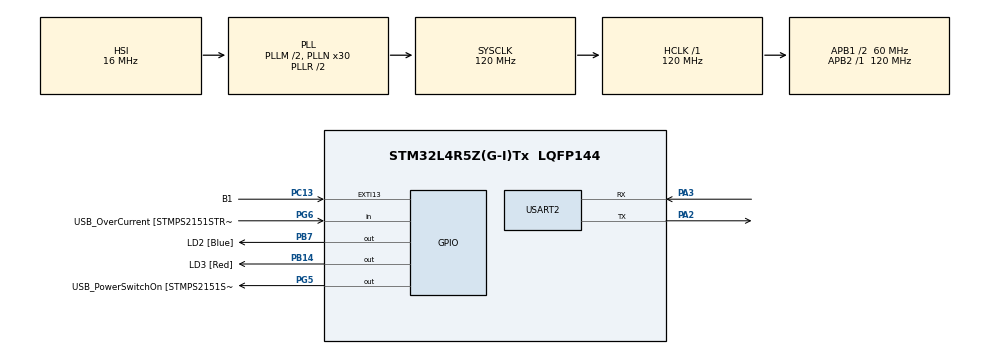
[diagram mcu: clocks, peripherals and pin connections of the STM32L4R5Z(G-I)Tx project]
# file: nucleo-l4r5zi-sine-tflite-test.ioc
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Mcu.Family=STM32L4
RCC.CortexFreq_Value=120000000
PG6.Signal=GPIO_Input
PH0-OSC_IN\ (PH0).Signal=RCC_OSC_IN
PG8.Signal=LPUART1_RX
PB14.GPIO_Label=LD3 [Red]
PG6.GPIO_Label=USB_OverCurrent [STMPS2151STR_FAULT]
RCC.SYSCLKSourceVirtual=RCC_SYSCLKSOURCE_PLLCLK
PC15-OSC32_OUT\ (PC15).Mode=LSE-External-Oscillator
PC13.GPIO_Label=B1
PG5.GPIO_Label=USB_PowerSwitchOn [STMPS2151STR_EN]
RCC.SYSCLKSource=RCC_SYSCLKSOURCE_PLLCLK
ProjectManager.StackSize=0x400
PC14-OSC32_IN\ (PC14).Mode=LSE-External-Oscillator
PA14\ (JTCK/SWCLK).Signal=SYS_JTCK-SWCLK
PA12.Signal=USB_OTG_FS_DP
RCC.HCLKFreq_Value=120000000
RCC.APB2TimFreq_Value=120000000
PD8.Signal=USART3_TX
RCC.AHBFreq_Value=120000000
RCC.HSE_VALUE=8000000
USART2.VirtualMode-Asynchronous=VM_ASYNC
RCC.PLLMUL=RCC_PLL_MUL9
PA13\ (JTMS/SWDIO).GPIO_Label=TMS
PA10.GPIO_Label=USB_ID
PB7.Signal=GPIO_Output
PA8.Signal=USB_OTG_FS_SOF
PA14\ (JTCK/SWCLK).Mode=Trace_Asynchronous_SW
PB7.GPIO_Label=LD2 [Blue]
Mcu.Package=LQFP144
PA10.Signal=USB_OTG_FS_ID
PA14\ (JTCK/SWCLK).GPIO_Label=TCK
RCC.APB1TimFreq_Value=120000000
RCC.CK48CLockSelection=RCC_USBCLKSOURCE_HSI48
TIM16.Prescaler=80-1
RCC.HSI48_VALUE=48000000
RCC.PLLSAI1N=12
PA3.Signal=USART2_RX
PB3\ (JTDO/TRACESWO).GPIO_Label=SWO
RCC.MSI_VALUE=4000000
RCC.PLLSourceVirtual=RCC_PLLSOURCE_HSI
PG7.Signal=LPUART1_TX
PA13\ (JTMS/SWDIO).Mode=Trace_Asynchronous_SW
PD9.GPIO_Label=STLK_TX [STM32F103CBT6_PA2]
PG5.Signal=GPIO_Output
PC13.Signal=GPXTI13
PA9.GPIO_Label=USB_VBUS
PA11.GPIO_Label=USB_DM
VP_TIM16_VS_ClockSourceINT.Mode=Enable_Timer
PD9.Signal=USART3_RX
PC15-OSC32_OUT\ (PC15).Signal=RCC_OSC32_OUT
RCC.APB1CLKDivider=RCC_HCLK_DIV2
PA12.GPIO_Label=USB_DP
PH1-OSC_OUT\ (PH1).Signal=RCC_OSC_OUT
PD8.GPIO_Label=STLK_RX [STM32F103CBT6_PA3]
PG8.GPIO_Label=STLINK_RX
PA3.Mode=Asynchronous
PA8.GPIO_Label=USB_SOF [TP1]
PB3\ (JTDO/TRACESWO).Signal=SYS_JTDO-SWO
ProjectManager.TargetToolchain=STM32CubeIDE
PA9.Signal=USB_OTG_FS_VBUS
RCC.USBFreq_Value=48000000
PB14.Signal=GPIO_Output
board=NUCLEO-L4R5ZI
RCC.VCOOutputFreq_Value=240000000
TIM16.Period=65536-1
RCC.APB2Freq_Value=120000000
RCC.PRESCALERUSB=RCC_USBCLKSOURCE_PLL_DIV1_5
PG7.GPIO_Label=STLINK_TX
RCC.ADCFreq_Value=96000000
Mcu.Name=STM32L4R5Z(G-I)Tx
PA2.Signal=USART2_TX
RCC.48MHZClocksFreq_Value=24000000
RCC.SYSCLKFreq_VALUE=120000000
RCC.PLLM1=2
PC14-OSC32_IN\ (PC14).Signal=RCC_OSC32_IN
PA11.Signal=USB_OTG_FS_DM
ProjectManager.HeapSize=0x200
RCC.HSI_VALUE=16000000
NVIC.PriorityGroup=NVIC_PRIORITYGROUP_4
PB3\ (JTDO/TRACESWO).Mode=Trace_Asynchronous_SW
RCC.PLLN=30
PA2.Mode=Asynchronous
RCC.APB1Freq_Value=60000000
PA13\ (JTMS/SWDIO).Signal=SYS_JTMS-SWDIO

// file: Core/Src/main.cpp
/* USER CODE BEGIN Header */
/**
  ******************************************************************************
  * @file           : main.c
  * @brief          : Main program body
  ******************************************************************************
  * @attention
  *
  * <h2><center>&copy; Copyright (c) 2021 STMicroelectronics.
  * All rights reserved.</center></h2>
  *
  * This software component is licensed by ST under BSD 3-Clause license,
  * the "License"; You may not use this file except in compliance with the
  * License. You may obtain a copy of the License at:
  *                        opensource.org/licenses/BSD-3-Clause
  *
  ******************************************************************************
  */
/* USER CODE END Header */
#include "main.h"

/* USER CODE BEGIN Includes */
#include <string.h>

#include "tensorflow/lite/micro/kernels/micro_ops.h"
#include "tensorflow/lite/micro/micro_error_reporter.h"
#include "tensorflow/lite/micro/micro_interpreter.h"
#include "tensorflow/lite/micro/micro_mutable_op_resolver.h"
#include "tensorflow/lite/micro/all_ops_resolver.h"
#include "tensorflow/lite/schema/schema_generated.h"
#include "sine_model.h"
/* USER CODE END Includes */

/* USER CODE BEGIN PD */
#define WITH_INTEGER_OPTIMIZATION	1
/* USER CODE END PD */

TIM_HandleTypeDef htim16;

UART_HandleTypeDef huart2;

const int LSTM_HIDDEN_SIE = 16;

const int DENSE_UNIT = 30;

/* USER CODE BEGIN PV */
// TFLite globals
namespace {
  tflite::ErrorReporter* error_reporter = nullptr;
  const tflite::Model* lstm_model = nullptr; // lstm model

  const tflite::Model* dense_model = nullptr; // dense model

  tflite::MicroInterpreter* lstm_interpreter = nullptr; // lstm_interpreter

  tflite::MicroInterpreter* dense_interpreter = nullptr; // dense_interpreter

  TfLiteTensor* lstm_input = nullptr;
  TfLiteTensor* lstm_state_h_fw = nullptr;
  TfLiteTensor* lstm_state_c_fw = nullptr;
  TfLiteTensor* lstm_state_h_out_fw = nullptr;
  TfLiteTensor* lstm_state_c_out_fw = nullptr;
  TfLiteTensor* lstm_output_out_fw = nullptr;

  TfLiteTensor* dense_input = nullptr;
  TfLiteTensor* last_output = nullptr;

  float lstm_outputs_buffer[1][LSTM_HIDDEN_SIE];

  // Create an area of memory to use for input, output, and other TensorFlow
  // arrays. You'll need to adjust this by compiling, running, and looking
  // for errors.
  constexpr int lstm_kTensorArenaSize = 20 * 1024;
    //__attribute__((aligned(16)))uint8_t tensor_arena[kTensorArenaSize];
    uint8_t lstm_tensor_arena[lstm_kTensorArenaSize];

  constexpr int dense_kTensorArenaSize = 50 * 1024;
	  //__attribute__((aligned(16)))uint8_t tensor_arena[kTensorArenaSize];
  uint8_t dense_tensor_arena[dense_kTensorArenaSize];
} // namespace

/* USER CODE END PV */

void SystemClock_Config(void);
static void MX_GPIO_Init(void);
static void MX_TIM16_Init(void);
static void MX_USART2_UART_Init(void);

int main(void)
{
  /* USER CODE BEGIN 1 */
  char buf[50];

  int buf_len = 0;

  TfLiteStatus tflite_status;

  uint32_t num_elements;

  uint32_t timestamp;

  float value_test = 2.0f;

  float y_val;

  uint32_t total_inference_time;

  uint32_t lstm_inference_time;

  /* USER CODE END 1 */

  /* MCU Configuration--------------------------------------------------------*/

  /* Reset of all peripherals, Initializes the Flash interface and the Systick. */
  HAL_Init();

  /* Configure the system clock */
  SystemClock_Config();

  /* Initialize all configured peripherals */
  MX_GPIO_Init();
  MX_TIM16_Init();
  MX_USART2_UART_Init();
  /* USER CODE BEGIN 2 */
  // Start timer/counter
  HAL_TIM_Base_Start(&htim16);

  buf_len = sprintf(buf, "\r\n\r\nSTM32 TF test\r\n");
  HAL_UART_Transmit(&huart2, (uint8_t *)buf, buf_len, 100);
  // Set up logging (modify tensorflow/lite/micro/debug_log.cc)
  static tflite::MicroErrorReporter micro_error_reporter;
  error_reporter = &micro_error_reporter;

  // Map the model into a usable data structure
  lstm_model = tflite::GetModel(_content_lstm_model_fw_tflite);

  if (lstm_model->version() != TFLITE_SCHEMA_VERSION)
  {
	  error_reporter->Report("LSTM Model version does not match Schema");
  	  while(1);
  }

  dense_model = tflite::GetModel(_content_dense_model_tflite);

  if (dense_model->version() != TFLITE_SCHEMA_VERSION)
  {
  	  error_reporter->Report("Dense Model version does not match Schema");
  	  while(1);
  }

  static tflite::AllOpsResolver resolver;

  static tflite::MicroInterpreter dense_static_interpreter(dense_model,
      		  resolver, dense_tensor_arena, dense_kTensorArenaSize, error_reporter);

  dense_interpreter = &dense_static_interpreter;

  // Build an interpreter to run the model with.
  static tflite::MicroInterpreter lstm_static_interpreter(lstm_model,
  		  resolver, lstm_tensor_arena, lstm_kTensorArenaSize, error_reporter);

  lstm_interpreter = &lstm_static_interpreter;

  // Allocate memory from the tensor_arena for the model's tensors.
  TfLiteStatus dense_allocate_tflite_status = dense_interpreter->AllocateTensors();

  if (dense_allocate_tflite_status != kTfLiteOk)
  {
  	  error_reporter->Report("Dense AllocateTensors() failed");
  	  while(1);
  }

  TfLiteStatus lstm_allocate_tflite_status = lstm_interpreter->AllocateTensors();

  if (lstm_allocate_tflite_status != kTfLiteOk)
  {
  	  error_reporter->Report("LSTM AllocateTensors() failed");
  	  while(1);
  }

  // Assign model input and output buffers (tensors) to pointers
  lstm_input = lstm_interpreter->input(0);
  lstm_state_h_fw = lstm_interpreter->input(1);
  lstm_state_c_fw = lstm_interpreter->input(2);
  lstm_output_out_fw = lstm_interpreter->output(0);
  lstm_state_h_out_fw = lstm_interpreter->output(1);
  lstm_state_c_out_fw = lstm_interpreter->output(1);

  dense_input = dense_interpreter->input(0);
  last_output = dense_interpreter->output(0);

  /* USER CODE END 2 */

  /* Infinite loop */
  /* USER CODE BEGIN WHILE */
  while (1)
  {
	  HAL_GPIO_TogglePin(GPIOB, GPIO_PIN_7);

	  for (int j = 0; j < LSTM_HIDDEN_SIE; j++)
	  {
		  lstm_state_h_fw->data.f[j] = 0.0;
		  lstm_state_c_fw->data.f[j] = 0.0;
	  }

	  lstm_input->data.f[0] = value_test;

	  // Get current timestamp
	  timestamp = htim16.Instance->CNT;

	  // Run inference
	  tflite_status = lstm_interpreter->Invoke();
	  if (tflite_status != kTfLiteOk)
	  {
		  error_reporter->Report("LSTM invoke failed");
	  }

	  // Get outputs
	  /*
	  for (int j = 0; j < LSTM_HIDDEN_SIE; j++)
	  {
		  lstm_outputs_buffer[1][j] = lstm_output_out_fw->data.f[j];
	  }
	  */

	  lstm_inference_time = htim16.Instance->CNT - timestamp;

	  // Feed input for dense network
	  for (int j = 0; j < LSTM_HIDDEN_SIE; j++)
	  {
		  dense_input->data.f[j] = lstm_output_out_fw->data.f[j];
	  }
	  // Run dense network inference
	  tflite_status = dense_interpreter->Invoke();

	  if (tflite_status != kTfLiteOk)
	  {
		  error_reporter->Report("Dense invoke failed");
	  }

	  // Read output (predicted y) of neural network
	  y_val = last_output->data.f[0];

	  total_inference_time = htim16.Instance->CNT - timestamp;

	  buf_len = sprintf(buf, "Output: %f | Duration: %lu\r\n",
			  y_val, total_inference_time);

	  HAL_UART_Transmit(&huart2, (uint8_t *)buf, buf_len, 100);

	  HAL_Delay(2000);
    /* USER CODE END WHILE */

  }
}

void SystemClock_Config(void)
{
  RCC_OscInitTypeDef RCC_OscInitStruct = {0};
  RCC_ClkInitTypeDef RCC_ClkInitStruct = {0};
  RCC_PeriphCLKInitTypeDef PeriphClkInit = {0};

  /** Configure the main internal regulator output voltage
  */
  if (HAL_PWREx_ControlVoltageScaling(PWR_REGULATOR_VOLTAGE_SCALE1_BOOST) != HAL_OK)
  {
    Error_Handler();
  }
  /** Initializes the RCC Oscillators according to the specified parameters
  * in the RCC_OscInitTypeDef structure.
  */
  RCC_OscInitStruct.OscillatorType = RCC_OSCILLATORTYPE_HSI;
  RCC_OscInitStruct.HSIState = RCC_HSI_ON;
  RCC_OscInitStruct.HSICalibrationValue = RCC_HSICALIBRATION_DEFAULT;
  RCC_OscInitStruct.PLL.PLLState = RCC_PLL_ON;
  RCC_OscInitStruct.PLL.PLLSource = RCC_PLLSOURCE_HSI;
  RCC_OscInitStruct.PLL.PLLM = 2;
  RCC_OscInitStruct.PLL.PLLN = 30;
  RCC_OscInitStruct.PLL.PLLP = RCC_PLLP_DIV2;
  RCC_OscInitStruct.PLL.PLLQ = RCC_PLLQ_DIV2;
  RCC_OscInitStruct.PLL.PLLR = RCC_PLLR_DIV2;
  if (HAL_RCC_OscConfig(&RCC_OscInitStruct) != HAL_OK)
  {
    Error_Handler();
  }
  /** Initializes the CPU, AHB and APB buses clocks
  */
  RCC_ClkInitStruct.ClockType = RCC_CLOCKTYPE_HCLK|RCC_CLOCKTYPE_SYSCLK
                              |RCC_CLOCKTYPE_PCLK1|RCC_CLOCKTYPE_PCLK2;
  RCC_ClkInitStruct.SYSCLKSource = RCC_SYSCLKSOURCE_PLLCLK;
  RCC_ClkInitStruct.AHBCLKDivider = RCC_SYSCLK_DIV1;
  RCC_ClkInitStruct.APB1CLKDivider = RCC_HCLK_DIV2;
  RCC_ClkInitStruct.APB2CLKDivider = RCC_HCLK_DIV1;

  if (HAL_RCC_ClockConfig(&RCC_ClkInitStruct, FLASH_LATENCY_5) != HAL_OK)
  {
    Error_Handler();
  }
  PeriphClkInit.PeriphClockSelection = RCC_PERIPHCLK_USART2;
  PeriphClkInit.Usart2ClockSelection = RCC_USART2CLKSOURCE_PCLK1;
  if (HAL_RCCEx_PeriphCLKConfig(&PeriphClkInit) != HAL_OK)
  {
    Error_Handler();
  }
}

static void MX_TIM16_Init(void)
{

  htim16.Instance = TIM16;
  htim16.Init.Prescaler = 80-1;
  htim16.Init.CounterMode = TIM_COUNTERMODE_UP;
  htim16.Init.Period = 65536-1;
  htim16.Init.ClockDivision = TIM_CLOCKDIVISION_DIV1;
  htim16.Init.RepetitionCounter = 0;
  htim16.Init.AutoReloadPreload = TIM_AUTORELOAD_PRELOAD_DISABLE;
  if (HAL_TIM_Base_Init(&htim16) != HAL_OK)
  {
    Error_Handler();
  }

}

static void MX_USART2_UART_Init(void)
{

  huart2.Instance = USART2;
  huart2.Init.BaudRate = 115200;
  huart2.Init.WordLength = UART_WORDLENGTH_8B;
  huart2.Init.StopBits = UART_STOPBITS_1;
  huart2.Init.Parity = UART_PARITY_NONE;
  huart2.Init.Mode = UART_MODE_TX_RX;
  huart2.Init.HwFlowCtl = UART_HWCONTROL_NONE;
  huart2.Init.OverSampling = UART_OVERSAMPLING_16;
  huart2.Init.OneBitSampling = UART_ONE_BIT_SAMPLE_DISABLE;
  huart2.Init.ClockPrescaler = UART_PRESCALER_DIV1;
  huart2.AdvancedInit.AdvFeatureInit = UART_ADVFEATURE_NO_INIT;
  if (HAL_UART_Init(&huart2) != HAL_OK)
  {
    Error_Handler();
  }
  if (HAL_UARTEx_SetTxFifoThreshold(&huart2, UART_TXFIFO_THRESHOLD_1_8) != HAL_OK)
  {
    Error_Handler();
  }
  if (HAL_UARTEx_SetRxFifoThreshold(&huart2, UART_RXFIFO_THRESHOLD_1_8) != HAL_OK)
  {
    Error_Handler();
  }
  if (HAL_UARTEx_DisableFifoMode(&huart2) != HAL_OK)
  {
    Error_Handler();
  }

}

static void MX_GPIO_Init(void)
{
  GPIO_InitTypeDef GPIO_InitStruct = {0};

  /* GPIO Ports Clock Enable */
  __HAL_RCC_GPIOC_CLK_ENABLE();
  __HAL_RCC_GPIOH_CLK_ENABLE();
  __HAL_RCC_GPIOA_CLK_ENABLE();
  __HAL_RCC_GPIOB_CLK_ENABLE();
  __HAL_RCC_GPIOD_CLK_ENABLE();
  __HAL_RCC_GPIOG_CLK_ENABLE();
  HAL_PWREx_EnableVddIO2();

  /*Configure GPIO pin Output Level */
  HAL_GPIO_WritePin(GPIOB, LD3_Pin|LD2_Pin, GPIO_PIN_RESET);

  /*Configure GPIO pin Output Level */
  HAL_GPIO_WritePin(USB_PowerSwitchOn_GPIO_Port, USB_PowerSwitchOn_Pin, GPIO_PIN_RESET);

  /*Configure GPIO pin : B1_Pin */
  GPIO_InitStruct.Pin = B1_Pin;
  GPIO_InitStruct.Mode = GPIO_MODE_IT_RISING;
  GPIO_InitStruct.Pull = GPIO_NOPULL;
  HAL_GPIO_Init(B1_GPIO_Port, &GPIO_InitStruct);

  /*Configure GPIO pins : LD3_Pin LD2_Pin */
  GPIO_InitStruct.Pin = LD3_Pin|LD2_Pin;
  GPIO_InitStruct.Mode = GPIO_MODE_OUTPUT_PP;
  GPIO_InitStruct.Pull = GPIO_NOPULL;
  GPIO_InitStruct.Speed = GPIO_SPEED_FREQ_LOW;
  HAL_GPIO_Init(GPIOB, &GPIO_InitStruct);

  /*Configure GPIO pins : STLK_RX_Pin STLK_TX_Pin */
  GPIO_InitStruct.Pin = STLK_RX_Pin|STLK_TX_Pin;
  GPIO_InitStruct.Mode = GPIO_MODE_AF_PP;
  GPIO_InitStruct.Pull = GPIO_NOPULL;
  GPIO_InitStruct.Speed = GPIO_SPEED_FREQ_VERY_HIGH;
  GPIO_InitStruct.Alternate = GPIO_AF7_USART3;
  HAL_GPIO_Init(GPIOD, &GPIO_InitStruct);

  /*Configure GPIO pin : USB_PowerSwitchOn_Pin */
  GPIO_InitStruct.Pin = USB_PowerSwitchOn_Pin;
  GPIO_InitStruct.Mode = GPIO_MODE_OUTPUT_PP;
  GPIO_InitStruct.Pull = GPIO_NOPULL;
  GPIO_InitStruct.Speed = GPIO_SPEED_FREQ_LOW;
  HAL_GPIO_Init(USB_PowerSwitchOn_GPIO_Port, &GPIO_InitStruct);

  /*Configure GPIO pin : USB_OverCurrent_Pin */
  GPIO_InitStruct.Pin = USB_OverCurrent_Pin;
  GPIO_InitStruct.Mode = GPIO_MODE_INPUT;
  GPIO_InitStruct.Pull = GPIO_NOPULL;
  HAL_GPIO_Init(USB_OverCurrent_GPIO_Port, &GPIO_InitStruct);

  /*Configure GPIO pins : STLINK_TX_Pin STLINK_RX_Pin */
  GPIO_InitStruct.Pin = STLINK_TX_Pin|STLINK_RX_Pin;
  GPIO_InitStruct.Mode = GPIO_MODE_AF_PP;
  GPIO_InitStruct.Pull = GPIO_NOPULL;
  GPIO_InitStruct.Speed = GPIO_SPEED_FREQ_VERY_HIGH;
  GPIO_InitStruct.Alternate = GPIO_AF8_LPUART1;
  HAL_GPIO_Init(GPIOG, &GPIO_InitStruct);

  /*Configure GPIO pins : USB_SOF_Pin USB_ID_Pin USB_DM_Pin USB_DP_Pin */
  GPIO_InitStruct.Pin = USB_SOF_Pin|USB_ID_Pin|USB_DM_Pin|USB_DP_Pin;
  GPIO_InitStruct.Mode = GPIO_MODE_AF_PP;
  GPIO_InitStruct.Pull = GPIO_NOPULL;
  GPIO_InitStruct.Speed = GPIO_SPEED_FREQ_VERY_HIGH;
  GPIO_InitStruct.Alternate = GPIO_AF10_OTG_FS;
  HAL_GPIO_Init(GPIOA, &GPIO_InitStruct);

  /*Configure GPIO pin : USB_VBUS_Pin */
  GPIO_InitStruct.Pin = USB_VBUS_Pin;
  GPIO_InitStruct.Mode = GPIO_MODE_INPUT;
  GPIO_InitStruct.Pull = GPIO_NOPULL;
  HAL_GPIO_Init(USB_VBUS_GPIO_Port, &GPIO_InitStruct);

}

/* USER CODE BEGIN 4 */
extern "C" void DebugLog(const char* s)
{
	HAL_UART_Transmit(&huart2, (uint8_t *)s, strlen(s), 100);
}
/* USER CODE END 4 */

void Error_Handler(void)
{
  __disable_irq();
  while (1)
  {
  }
}

/************************ (C) COPYRIGHT STMicroelectronics *****END OF FILE****/
